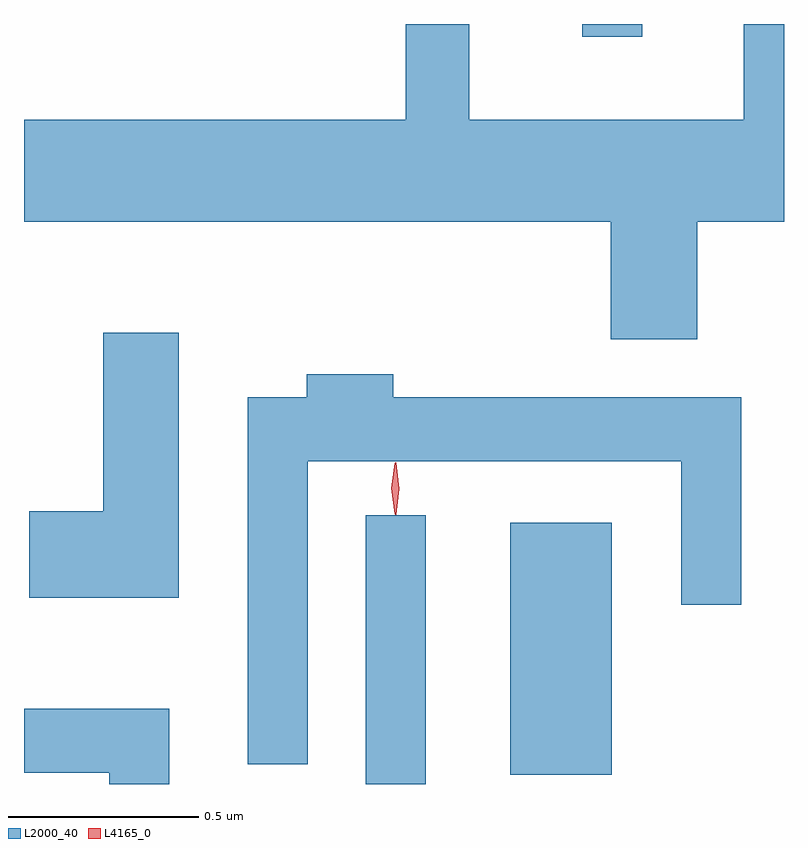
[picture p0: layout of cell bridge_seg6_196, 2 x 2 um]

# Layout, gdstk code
import gdstk
lib = gdstk.Library(unit=1e-6, precision=1e-09)
def R(c, l, rs):  # rectangles x0, y0, x1, y1
    for r in rs: c.add(gdstk.rectangle(r[:2], r[2:], *l))
def P(c, l, *ps):  # polygons
    for p in ps: c.add(gdstk.Polygon(p, *l))
L2000_40 = (2000, 40)
L4165_0 = (4165, 0)

bridge_seg6_196 = lib.new_cell('bridge_seg6_196')
R(bridge_seg6_196, L2000_40, [(1044.046,1590.736,1044.204,1591.443), (1044.426,1590.761,1044.694,1591.424), (1044.616,1592.703,1044.774,1592.736)])
P(bridge_seg6_196, L2000_40, [(1044.919,1592.216),(1045.147,1592.216),(1045.147,1592.736),(1045.041,1592.736),(1045.041,1592.484),(1044.319,1592.484),(1044.319,1592.736),(1044.151,1592.736),(1044.151,1592.484),(1043.147,1592.484),(1043.147,1592.216),(1044.691,1592.216),(1044.691,1591.906),(1044.919,1591.906)],
  [(1043.554,1591.924),(1043.356,1591.924),(1043.356,1591.454),(1043.161,1591.454),(1043.161,1591.226),(1043.554,1591.226)],
  [(1043.894,1591.586),(1044.876,1591.586),(1044.876,1591.208),(1045.034,1591.208),(1045.034,1591.754),(1044.119,1591.754),(1044.119,1591.814),(1043.891,1591.814),(1043.891,1591.754),(1043.736,1591.754),(1043.736,1590.788),(1043.894,1590.788)],
  [(1043.529,1590.934),(1043.147,1590.934),(1043.147,1590.766),(1043.371,1590.766),(1043.371,1590.736),(1043.529,1590.736)])
P(bridge_seg6_196, L4165_0, [(1044.123,1591.447),(1044.114,1591.514),(1044.123,1591.58),(1044.124,1591.581),(1044.124,1591.58),(1044.134,1591.514),(1044.124,1591.447),(1044.124,1591.447)],
  [(1044.124,1591.444),(1044.115,1591.513),(1044.124,1591.582),(1044.125,1591.583),(1044.126,1591.582),(1044.135,1591.513),(1044.126,1591.444),(1044.125,1591.444)])

lib.write_gds('bridge_seg6_196.gds')
